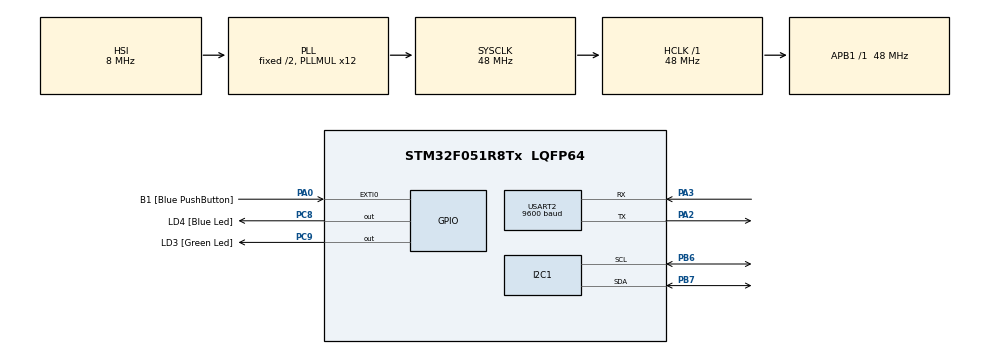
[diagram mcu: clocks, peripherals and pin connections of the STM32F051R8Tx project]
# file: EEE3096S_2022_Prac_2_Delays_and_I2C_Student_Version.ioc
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Dma.Request0=USART2_TX
Dma.USART2_TX.0.Direction=DMA_MEMORY_TO_PERIPH
Dma.USART2_TX.0.Instance=DMA1_Channel4
Dma.USART2_TX.0.MemDataAlignment=DMA_MDATAALIGN_BYTE
Dma.USART2_TX.0.MemInc=DMA_MINC_ENABLE
Dma.USART2_TX.0.Mode=DMA_NORMAL
Dma.USART2_TX.0.PeriphDataAlignment=DMA_PDATAALIGN_BYTE
Dma.USART2_TX.0.PeriphInc=DMA_PINC_DISABLE
Dma.USART2_TX.0.Priority=DMA_PRIORITY_LOW
Mcu.Family=STM32F0
Mcu.Name=STM32F051R8Tx
Mcu.Package=LQFP64
NVIC.DMA1_Channel4_5_IRQn=true\:0\:0\:false\:false\:true\:false\:true\:true
NVIC.USART2_IRQn=true\:0\:0\:false\:false\:true\:true\:true\:true
PA0.GPIO_Label=B1 [Blue PushButton]
PA0.GPIO_ModeDefaultEXTI=GPIO_MODE_EVT_RISING
PA0.Signal=GPXTI0
PA13.GPIO_Label=SWDIO
PA13.Mode=Serial_Wire
PA13.Signal=SYS_SWDIO
PA14.GPIO_Label=SWCLK
PA14.Mode=Serial_Wire
PA14.Signal=SYS_SWCLK
PA2.Mode=Asynchronous
PA2.Signal=USART2_TX
PA3.Mode=Asynchronous
PA3.Signal=USART2_RX
PB6.Mode=I2C
PB6.Signal=I2C1_SCL
PB7.Mode=I2C
PB7.Signal=I2C1_SDA
PC8.GPIO_Label=LD4 [Blue Led]
PC8.Signal=GPIO_Output
PC9.GPIO_Label=LD3 [Green Led]
PC9.Signal=GPIO_Output
PF0-OSC_IN.Mode=HSE-External-Oscillator
PF0-OSC_IN.Signal=RCC_OSC_IN
PF1-OSC_OUT.Mode=HSE-External-Oscillator
PF1-OSC_OUT.Signal=RCC_OSC_OUT
ProjectManager.HeapSize=0x200
ProjectManager.StackSize=0x400
ProjectManager.TargetToolchain=STM32CubeIDE
RCC.AHBFreq_Value=48000000
RCC.APB1Freq_Value=48000000
RCC.APB1TimFreq_Value=48000000
RCC.HCLKFreq_Value=48000000
RCC.PLLMUL=RCC_PLL_MUL12
RCC.SYSCLKFreq_VALUE=48000000
RCC.SYSCLKSource=RCC_SYSCLKSOURCE_PLLCLK
USART2.BaudRate=9600
USART2.VirtualMode-Asynchronous=VM_ASYNC
board=STM32F0DISCOVERY

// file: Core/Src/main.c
/* USER CODE BEGIN Header */
/**
*************************************
Info:		STM32 I2C with DS3231 HAL
Author:		Amaan Vally
*************************************
In this practical you will learn to use I2C on the STM32 using the HAL. Here, we will
be interfacing with a DS3231 RTC. We also create functions to convert the data between Binary
Coded Decimal (BCD) and decimal.

Code is also provided to send data from the STM32 to other devices using UART protocol
by using HAL. You will need Putty or a Python script to read from the serial port on your PC.

UART Connections are as follows: red->5V black->GND white(TX)->PA2 green(RX;unused)->PA3.
Open device manager and go to Ports. Plug in the USB connector with the STM powered on. Check the port number (COMx).
Open up Putty and create a new Serial session on that COMx with baud rate of 9600.

https://www.youtube.com/watch?v=EEsI9MxndbU&list=PLfIJKC1ud8ghc4eFhI84z_3p3Ap2MCMV-&index=4

RTC Connections: (+)->5V (-)->GND D->PB7 (I2C1_SDA) C->PB6 (I2C1_SCL)
  ******************************************************************************
  */
/* USER CODE END Header */
#include "main.h"

/* USER CODE BEGIN Includes */
#include "stdio.h"
/* USER CODE END Includes */

/* USER CODE BEGIN PTD */
typedef struct {
	uint8_t seconds;
	uint8_t minutes;
	uint8_t hour;
	uint8_t dayofweek;
	uint8_t dayofmonth;
	uint8_t month;
	uint8_t year;
} TIME;

/* USER CODE END PTD */

/* USER CODE BEGIN PD */
//TO DO:
//TASK 2
//Give DELAY1 and DELAY2 sensible values
#define DELAY1 250
#define DELAY2 3500

//TO DO:
//TASK 4
//Define the RTC slave address
#define DS3231_ADDRESS 0xD0

#define EPOCH_2022 1640988000
/* USER CODE END PD */

I2C_HandleTypeDef hi2c1;

UART_HandleTypeDef huart2;
DMA_HandleTypeDef hdma_usart2_tx;

/* USER CODE BEGIN PV */
char buffer[32];
uint8_t data [] = "Hello from STM32!\r\n";
TIME time;
/* USER CODE END PV */

void SystemClock_Config(void);
static void MX_GPIO_Init(void);
static void MX_I2C1_Init(void);
static void MX_DMA_Init(void);
static void MX_USART2_UART_Init(void);
/* USER CODE BEGIN PFP */
void HAL_UART_TxCpltCllback(UART_HandleTypeDef *huart);
void pause_sec(float x);

uint8_t decToBcd(int val);
int bcdToDec(uint8_t val);
void setTime (uint8_t sec, uint8_t min, uint8_t hour, uint8_t dow, uint8_t dom, uint8_t month, uint8_t year);
void getTime (void);
int epochFromTime(TIME time);

/* USER CODE END PFP */

int main(void){

  /* MCU Configuration--------------------------------------------------------*/

  /* Reset of all peripherals, Initializes the Flash interface and the Systick. */
  HAL_Init();

  /* Configure the system clock */
  SystemClock_Config();

  /* Initialize all configured peripherals */
  MX_GPIO_Init();
  MX_I2C1_Init();
  MX_DMA_Init();
  MX_USART2_UART_Init();

  /* USER CODE BEGIN 2 */

  //TO DO
  //TASK 6
 //setTime(0,23,17,5,29,9,22);

  /* USER CODE END 2 */

  /* Infinite loop */
  while (1)
  {
	//TO DO:
	//TASK 1
	//First run this with nothing else in the loop and scope pin PC8 on an oscilloscope

	  HAL_GPIO_TogglePin(GPIOC, GPIO_PIN_8);
	  //pause_sec(1);

	//TO DO:
	//TASK 6
	getTime();
	int epochtime= epochFromTime(time);

	sprintf(buffer, "Time: %d: %d: %d \r\n", time.hour,time.minutes,time.seconds);
	//This creates a string "55555555555555" with a pointer called buffer

	//Transmit data via UART
	//Blocking! fine for small buffers
	HAL_UART_Transmit(&huart2, buffer, sizeof(buffer), 1000);
    //HAL_Delay(1000);

	sprintf(buffer,"Epoch: %d \r\n", epochtime);
	HAL_UART_Transmit(&huart2, buffer,sizeof(buffer), 1000);
	HAL_Delay(1000);

  }
}

void SystemClock_Config(void)
{
  RCC_OscInitTypeDef RCC_OscInitStruct = {0};
  RCC_ClkInitTypeDef RCC_ClkInitStruct = {0};
  RCC_PeriphCLKInitTypeDef PeriphClkInit = {0};

  /** Initializes the RCC Oscillators according to the specified parameters
  * in the RCC_OscInitTypeDef structure.
  */
  RCC_OscInitStruct.OscillatorType = RCC_OSCILLATORTYPE_HSI;
  RCC_OscInitStruct.HSIState = RCC_HSI_ON;
  RCC_OscInitStruct.HSICalibrationValue = RCC_HSICALIBRATION_DEFAULT;
  RCC_OscInitStruct.PLL.PLLState = RCC_PLL_ON;
  RCC_OscInitStruct.PLL.PLLSource = RCC_PLLSOURCE_HSI;
  RCC_OscInitStruct.PLL.PLLMUL = RCC_PLL_MUL12;
  RCC_OscInitStruct.PLL.PREDIV = RCC_PREDIV_DIV1;
  if (HAL_RCC_OscConfig(&RCC_OscInitStruct) != HAL_OK)
  {
    Error_Handler();
  }

  /** Initializes the CPU, AHB and APB buses clocks
  */
  RCC_ClkInitStruct.ClockType = RCC_CLOCKTYPE_HCLK|RCC_CLOCKTYPE_SYSCLK
                              |RCC_CLOCKTYPE_PCLK1;
  RCC_ClkInitStruct.SYSCLKSource = RCC_SYSCLKSOURCE_PLLCLK;
  RCC_ClkInitStruct.AHBCLKDivider = RCC_SYSCLK_DIV1;
  RCC_ClkInitStruct.APB1CLKDivider = RCC_HCLK_DIV1;

  if (HAL_RCC_ClockConfig(&RCC_ClkInitStruct, FLASH_LATENCY_1) != HAL_OK)
  {
    Error_Handler();
  }
  PeriphClkInit.PeriphClockSelection = RCC_PERIPHCLK_I2C1;
  PeriphClkInit.I2c1ClockSelection = RCC_I2C1CLKSOURCE_HSI;
  if (HAL_RCCEx_PeriphCLKConfig(&PeriphClkInit) != HAL_OK)
  {
    Error_Handler();
  }
}

static void MX_I2C1_Init(void)
{

  hi2c1.Instance = I2C1;
  hi2c1.Init.Timing = 0x2000090E;
  hi2c1.Init.OwnAddress1 = 0;
  hi2c1.Init.AddressingMode = I2C_ADDRESSINGMODE_7BIT;
  hi2c1.Init.DualAddressMode = I2C_DUALADDRESS_DISABLE;
  hi2c1.Init.OwnAddress2 = 0;
  hi2c1.Init.OwnAddress2Masks = I2C_OA2_NOMASK;
  hi2c1.Init.GeneralCallMode = I2C_GENERALCALL_DISABLE;
  hi2c1.Init.NoStretchMode = I2C_NOSTRETCH_DISABLE;
  if (HAL_I2C_Init(&hi2c1) != HAL_OK)
  {
    Error_Handler();
  }

  /** Configure Analogue filter
  */
  if (HAL_I2CEx_ConfigAnalogFilter(&hi2c1, I2C_ANALOGFILTER_ENABLE) != HAL_OK)
  {
    Error_Handler();
  }

  /** Configure Digital filter
  */
  if (HAL_I2CEx_ConfigDigitalFilter(&hi2c1, 0) != HAL_OK)
  {
    Error_Handler();
  }

}

static void MX_USART2_UART_Init(void)
{

  huart2.Instance = USART2;
  huart2.Init.BaudRate = 9600;
  huart2.Init.WordLength = UART_WORDLENGTH_8B;
  huart2.Init.StopBits = UART_STOPBITS_1;
  huart2.Init.Parity = UART_PARITY_NONE;
  huart2.Init.Mode = UART_MODE_TX_RX;
  huart2.Init.HwFlowCtl = UART_HWCONTROL_NONE;
  huart2.Init.OverSampling = UART_OVERSAMPLING_16;
  huart2.Init.OneBitSampling = UART_ONE_BIT_SAMPLE_DISABLE;
  huart2.AdvancedInit.AdvFeatureInit = UART_ADVFEATURE_NO_INIT;
  if (HAL_UART_Init(&huart2) != HAL_OK)
  {
    Error_Handler();
  }

}

static void MX_DMA_Init(void)
{

  /* DMA controller clock enable */
  __HAL_RCC_DMA1_CLK_ENABLE();

  /* DMA interrupt init */
  /* DMA1_Channel4_5_IRQn interrupt configuration */
  HAL_NVIC_SetPriority(DMA1_Channel4_5_IRQn, 0, 0);
  HAL_NVIC_EnableIRQ(DMA1_Channel4_5_IRQn);

}

static void MX_GPIO_Init(void)
{
  GPIO_InitTypeDef GPIO_InitStruct = {0};

  /* GPIO Ports Clock Enable */
  __HAL_RCC_GPIOF_CLK_ENABLE();
  __HAL_RCC_GPIOA_CLK_ENABLE();
  __HAL_RCC_GPIOC_CLK_ENABLE();
  __HAL_RCC_GPIOB_CLK_ENABLE();

  /*Configure GPIO pin Output Level */
  HAL_GPIO_WritePin(GPIOC, LD4_Pin|LD3_Pin, GPIO_PIN_RESET);

  /*Configure GPIO pin : B1_Pin */
  GPIO_InitStruct.Pin = B1_Pin;
  GPIO_InitStruct.Mode = GPIO_MODE_EVT_RISING;
  GPIO_InitStruct.Pull = GPIO_NOPULL;
  HAL_GPIO_Init(B1_GPIO_Port, &GPIO_InitStruct);

  /*Configure GPIO pins : LD4_Pin LD3_Pin */
  GPIO_InitStruct.Pin = LD4_Pin|LD3_Pin;
  GPIO_InitStruct.Mode = GPIO_MODE_OUTPUT_PP;
  GPIO_InitStruct.Pull = GPIO_NOPULL;
  GPIO_InitStruct.Speed = GPIO_SPEED_FREQ_LOW;
  HAL_GPIO_Init(GPIOC, &GPIO_InitStruct);

}

/* USER CODE BEGIN 4 */
void pause_sec(float x)
{
	/* Delay program execution for x seconds */
	//TO DO:
	//TASK 2
	//Make sure you've defined DELAY1 and DELAY2 in the private define section

	for(int v=0;v<=x; v++){
	for (int i=0; i<=DELAY1; i++){
		for (int j=0; j<=DELAY2; j++){}}
	}}

uint8_t decToBcd(int val)
{
    /* Convert normal decimal numbers to binary coded decimal*/
	//TO DO:
	//TASK 3
	uint8_t dec= (uint8_t) ((val / 10 * 16) + (val % 10));

	return dec;
}

int bcdToDec(uint8_t val)
{
    /* Convert binary coded decimal to normal decimal numbers */
	//TO DO:
	//TASK 3
	//Complete the BCD to decimal function

	uint8_t bcd= (uint8_t) ((val / 16 * 10) + (val % 16));

	return bcd;

}

void setTime (uint8_t sec, uint8_t min, uint8_t hour, uint8_t dow, uint8_t dom, uint8_t month, uint8_t year)
{
    /* Write the time to the RTC using I2C */
	//TO DO:
	//TASK 4

	uint8_t set_time[7];

	set_time[0]=decToBcd(sec);
	set_time[1]=decToBcd(min);
	set_time[2]=decToBcd(hour);
	set_time[3]=decToBcd(dow);
	set_time[4]=decToBcd(dom);
	set_time[5]=decToBcd(month);
	set_time[6]=decToBcd(year);

	//fill in the address of the RTC, the address of the first register to write anmd the size of each register
	//The function and RTC supports multiwrite. That means we can give the function a buffer and first address
	//and it will write 1 byte of data, increment the register address, write another byte and so on
	HAL_I2C_Mem_Write(&hi2c1, DS3231_ADDRESS, 0x00, 1, set_time, 7, 1000);

}

void getTime (void)
{
    /* Get the time from the RTC using I2C */
	//TO DO:
	//TASK 4
	//Update the global TIME time structure

	uint8_t get_time[7];

	//fill in the address of the RTC, the address of the first register to write anmd the size of each register
	//The function and RTC supports multiread. That means we can give the function a buffer and first address
	//and it will read 1 byte of data, increment the register address, write another byte and so on
	HAL_I2C_Mem_Read(&hi2c1, DS3231_ADDRESS, 0x00, 1, get_time, 7, 1000);

	time.seconds=bcdToDec(get_time[0]);
	time.minutes=bcdToDec(get_time[1]);
	time.hour=bcdToDec(get_time[2]);
	time.dayofweek=bcdToDec(get_time[3]);
	time.dayofmonth=bcdToDec(get_time[4]);
	time.month=bcdToDec(get_time[5]);
	time.year=bcdToDec(get_time[6]);

}

int epochFromTime(TIME time){
    /* Convert time to UNIX epoch time */
	//TO DO:
	//TASK 5
	//You have been given the epoch time for Saturday, January 1, 2022 12:00:00 AM GMT+02:00
	//It is define above as EPOCH_2022. You can work from that and ignore the effects of leap years/seconds

	//YOUR CODE HERE
	int daySecs=86400;
	int epochTime=0;
	int days=0;
	int monthsDays[13]={0,31,28,31,30,31,30,31,31,30,31,30,31};
	epochTime= epochTime + ((time.year-22)*daySecs*365);

	for(int i=1; i<time.month;i++){
		days+= monthsDays[i];
	}

	days= days+(time.dayofmonth-1);
	epochTime= epochTime +days*daySecs;
	epochTime= epochTime +(time.hour*3600);
	epochTime= epochTime +(time.minutes*60);
	epochTime= epochTime +(time.seconds);

	//switch(months){
	//case 1:
		//day += 31;
	//break;

	/*
	 *COMPLETE THE SWITCH CASE OR INSERT YOUR OWN LOGIC
	 */

	//default:
		//day = day;

	return epochTime + EPOCH_2022;
}

/* USER CODE END 4 */

void Error_Handler(void)
{
  __disable_irq();
  while (1)
  {
  }
}
